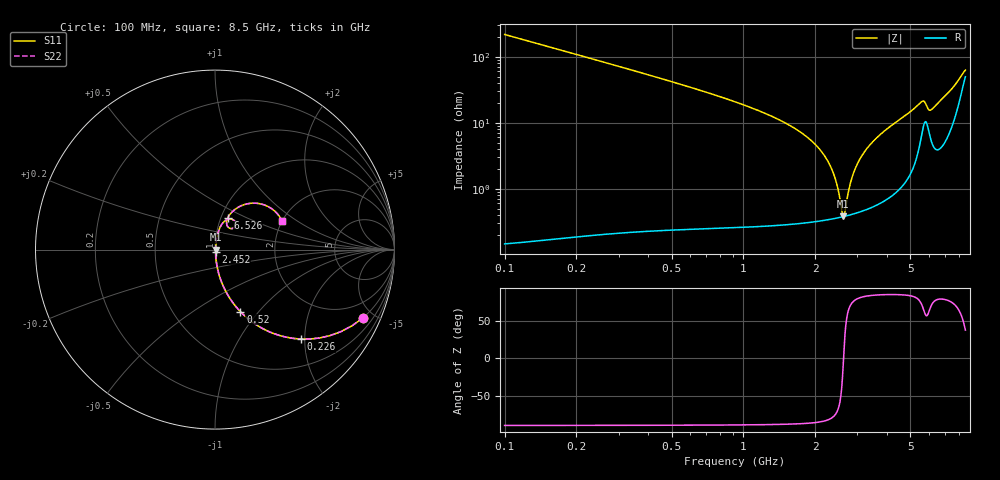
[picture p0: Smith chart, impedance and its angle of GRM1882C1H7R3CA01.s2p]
!Murata Part Number: GRM1882C1H7R3CA01
!These Parameters are Measured in Series Mode Connection
!Data Generated on Mar 30, 2021
!  o--ll--o
!Port1  Port2
!  o------o
!Operation Temp=25[degC], DC Bias Voltage=0[V]
!Freq. Start=100[MHz] Stop=9[GHz] 401[Steps]
# Hz S RI R 50
!Freq.(Hz) S11(Real) S11(Imag) S21(Real) S21(Imag) S12(Real) S12(Imag) S22(Real) S22(Imag)
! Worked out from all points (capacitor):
!   401 points, 100 MHz to 8.5 GHz, reference 50 ohm
!   read as one part in series: C = 7.3 pF near 142 MHz
!   lowest |Z| = 381 mohm at 2.62 GHz (marker M1)
!   series resonance near 2.626 GHz, so ESL is about 500 pH
!   S11 on the Smith chart (normalised r, x): 100 MHz: 1.00, -4.35; 226 MHz: 1.00, -1.91; 520 MHz: 1.00, -0.81; 2.452 GHz: 1.01, -0.02; 6.526 GHz: 1.08, +0.39; 8.5 GHz: 2.00, +0.77
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1e8  0.8255 -0.3792  0.1745 0.3792  0.1745 0.3792  0.8255 -0.3792
2.26e8  0.4782 -0.4985  0.5218 0.4985  0.5218 0.4985  0.4782 -0.4985
3.52e8  0.2707 -0.4425  0.7293 0.4425  0.7293 0.4425  0.2707 -0.4425
5.2e8  0.1412 -0.3453  0.8588 0.3453  0.8588 0.3453  0.1412 -0.3453
8.56e8  0.0517 -0.216  0.9483 0.216  0.9483 0.216  0.0517 -0.216
1.507e9  0.0123 -0.0967  0.9877 0.0967  0.9877 0.0967  0.0123 -0.0967
2.116e9  0.00462 -0.0368  0.9954 0.0368  0.9954 0.0368  0.00462 -0.0368
2.305e9  0.00393 -0.0222  0.9961 0.0222  0.9961 0.0222  0.00393 -0.0222
2.452e9  0.00372 -0.0117  0.9963 0.0117  0.9963 0.0117  0.00372 -0.0117
2.62e9  0.00378 -0.000393  0.9962 0.000393  0.9962 0.000393  0.00378 -0.000393
2.662e9  0.00383 0.00234  0.9962 -0.00234  0.9962 -0.00234  0.00383 0.00234
2.809e9  0.00416 0.0117  0.9958 -0.0117  0.9958 -0.0117  0.00416 0.0117
2.914e9  0.00451 0.0181  0.9955 -0.0181  0.9955 -0.0181  0.00451 0.0181
3.124e9  0.00547 0.0305  0.9945 -0.0305  0.9945 -0.0305  0.00547 0.0305
3.397e9  0.00722 0.0461  0.9928 -0.0461  0.9928 -0.0461  0.00722 0.0461
4.3e9  0.0178 0.096  0.9822 -0.096  0.9822 -0.096  0.0178 0.096
5.707e9  0.1135 0.1521  0.8865 -0.1521  0.8865 -0.1521  0.1135 0.1521
6.022e9  0.0775 0.1215  0.9225 -0.1215  0.9225 -0.1215  0.0775 0.1215
6.526e9  0.0705 0.175  0.9295 -0.175  0.9295 -0.175  0.0705 0.175
7.114e9  0.1108 0.2235  0.8892 -0.2235  0.8892 -0.2235  0.1108 0.2235
7.954e9  0.2448 0.2565  0.7552 -0.2565  0.7552 -0.2565  0.2448 0.2565
8.5e9  0.3737 0.1601  0.6263 -0.1601  0.6263 -0.1601  0.3737 0.1601
